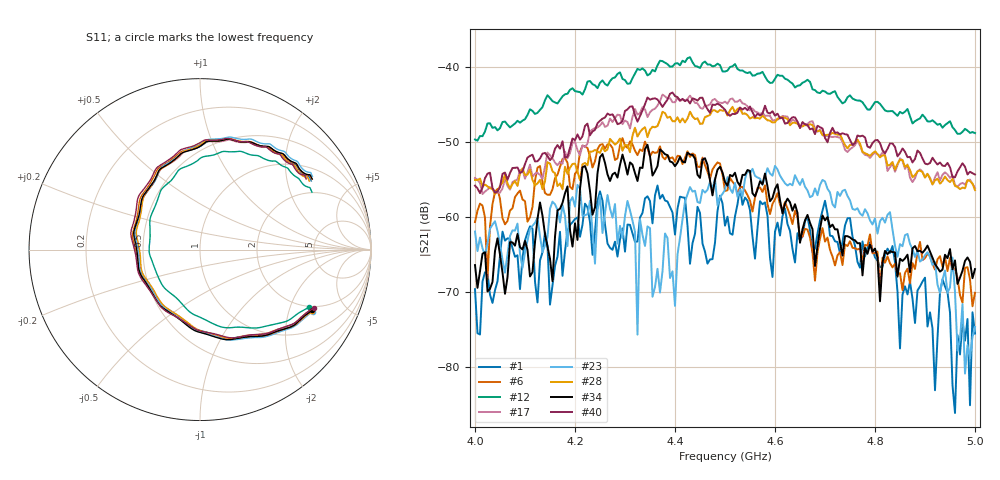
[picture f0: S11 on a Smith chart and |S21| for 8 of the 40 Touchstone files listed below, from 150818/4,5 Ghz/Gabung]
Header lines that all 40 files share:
# Hz S RI R 50
! CMT, C1220, 16058040, 17.2.0/1
! Data: Format (Calibration Info)
! Freq  S11: Re/Im (F2)  S21: Re/Im (F2)  S12: Re/Im (F2)  S22: Re/Im (F2)
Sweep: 4 GHz to 5 GHz
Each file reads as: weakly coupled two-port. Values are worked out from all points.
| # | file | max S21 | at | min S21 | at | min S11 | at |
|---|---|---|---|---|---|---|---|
| 1 | Sudut_120_Titik_6.s2p | -55.83 dB | 4.365 GHz | -86.2 dB | 4.96 GHz | -8.9 dB | 4.36 GHz |
| 2 | Sudut_120_Titik_8.s2p | -40.31 dB | 4.43 GHz | -51.4 dB | 4 GHz | -10.9 dB | 4.315 GHz |
| 3 | Sudut_120_Titik_9.s2p | -38.74 dB | 4.4 GHz | -51.1 dB | 5 GHz | -7.7 dB | 4.36 GHz |
| 4 | Sudut_130_Titik_6.s2p | -55.08 dB | 4.49 GHz | -84.9 dB | 4.905 GHz | -8.9 dB | 4.36 GHz |
| 5 | Sudut_140_Titik_1.s2p | -39.22 dB | 4.44 GHz | -52.4 dB | 5 GHz | -7.7 dB | 4.36 GHz |
| 6 | Sudut_140_Titik_5.s2p | -49.51 dB | 4.295 GHz | -71.9 dB | 4.995 GHz | -8.6 dB | 4.36 GHz |
| 7 | Sudut_150_Titik_2.s2p | -39.03 dB | 4.43 GHz | -50.1 dB | 4.005 GHz | -10.8 dB | 4.315 GHz |
| 8 | Sudut_150_Titik_5.s2p | -50.11 dB | 4.31 GHz | -72.0 dB | 4.025 GHz | -8.9 dB | 4.36 GHz |
| 9 | Sudut_150_Titik_6.s2p | -54.65 dB | 4.53 GHz | -85.0 dB | 4.12 GHz | -8.8 dB | 4.36 GHz |
| 10 | Sudut_150_Titik_9.s2p | -39.89 dB | 4.44 GHz | -52.3 dB | 5 GHz | -7.7 dB | 4.36 GHz |
| 11 | Sudut_160_Titik_1.s2p | -40.28 dB | 4.4 GHz | -52.5 dB | 5 GHz | -7.7 dB | 4.36 GHz |
| 12 | Sudut_160_Titik_2.s2p | -38.72 dB | 4.43 GHz | -49.8 dB | 4.005 GHz | -10.9 dB | 4.315 GHz |
| 13 | Sudut_160_Titik_5.s2p | -49.55 dB | 4.37 GHz | -77.7 dB | 4.025 GHz | -8.8 dB | 4.365 GHz |
| 14 | Sudut_160_Titik_6.s2p | -54.81 dB | 4.445 GHz | -83.2 dB | 4.045 GHz | -8.7 dB | 4.36 GHz |
| 15 | Sudut_160_Titik_7.s2p | -44.42 dB | 4.355 GHz | -59.2 dB | 4.015 GHz | -8.6 dB | 4.36 GHz |
| 16 | Sudut_170_Titik_1.s2p | -40.44 dB | 4.4 GHz | -53.6 dB | 5 GHz | -7.7 dB | 4.36 GHz |
| 17 | Sudut_170_Titik_3.s2p | -43.71 dB | 4.375 GHz | -57.0 dB | 4.015 GHz | -8.9 dB | 4.36 GHz |
| 18 | Sudut_170_Titik_4.s2p | -52.36 dB | 4.25 GHz | -88.8 dB | 4.965 GHz | -9.0 dB | 4.36 GHz |
| 19 | Sudut_170_Titik_7.s2p | -43.48 dB | 4.395 GHz | -57.5 dB | 4.015 GHz | -8.7 dB | 4.36 GHz |
| 20 | Sudut_180_Titik_3.s2p | -44.28 dB | 4.43 GHz | -56.2 dB | 4.97 GHz | -9.0 dB | 4.36 GHz |
| 21 | Sudut_180_Titik_4.s2p | -53.79 dB | 4.6 GHz | -88.0 dB | 4.965 GHz | -9.0 dB | 4.36 GHz |
| 22 | Sudut_180_Titik_7.s2p | -43.12 dB | 4.355 GHz | -56.1 dB | 4.005 GHz | -8.6 dB | 4.36 GHz |
| 23 | Sudut_190_Titik_4.s2p | -53.21 dB | 4.6 GHz | -80.9 dB | 4.98 GHz | -8.9 dB | 4.36 GHz |
| 24 | Sudut_190_Titik_5.s2p | -50.88 dB | 4.41 GHz | -72.4 dB | 4.115 GHz | -8.5 dB | 4.36 GHz |
| 25 | Sudut_190_Titik_6.s2p | -53.09 dB | 4.245 GHz | -67.4 dB | 5 GHz | -8.9 dB | 4.36 GHz |
| 26 | Sudut_190_Titik_7.s2p | -42.28 dB | 4.39 GHz | -55.3 dB | 4.045 GHz | -8.5 dB | 4.36 GHz |
| 27 | Sudut_190_Titik_8.s2p | -38.22 dB | 4.43 GHz | -48.9 dB | 4.005 GHz | -10.8 dB | 4.315 GHz |
| 28 | Sudut_200_Titik_3.s2p | -45.33 dB | 4.515 GHz | -57.0 dB | 4.04 GHz | -9.1 dB | 4.36 GHz |
| 29 | Sudut_200_Titik_4.s2p | -52.71 dB | 4.6 GHz | -86.6 dB | 4.985 GHz | -8.8 dB | 4.36 GHz |
| 30 | Sudut_200_Titik_6.s2p | -53.24 dB | 4.245 GHz | -69.7 dB | 5 GHz | -8.9 dB | 4.36 GHz |
| 31 | Sudut_200_Titik_7.s2p | -41.95 dB | 4.395 GHz | -55.3 dB | 4.045 GHz | -8.5 dB | 4.365 GHz |
| 32 | Sudut_200_Titik_9.s2p | -41.07 dB | 4.44 GHz | -52.5 dB | 4.02 GHz | -7.7 dB | 4.36 GHz |
| 33 | Sudut_210_Titik_4.s2p | -52.63 dB | 4.545 GHz | -84.4 dB | 4.985 GHz | -8.7 dB | 4.36 GHz |
| 34 | Sudut_210_Titik_5.s2p | -50.40 dB | 4.345 GHz | -71.3 dB | 4.81 GHz | -8.7 dB | 4.36 GHz |
| 35 | Sudut_210_Titik_7.s2p | -42.33 dB | 4.39 GHz | -55.4 dB | 4.045 GHz | -8.5 dB | 4.315 GHz |
| 36 | Sudut_210_Titik_8.s2p | -38.26 dB | 4.375 GHz | -47.7 dB | 4.97 GHz | -10.8 dB | 4.315 GHz |
| 37 | Sudut_220_Titik_3.s2p | -46.65 dB | 4.515 GHz | -60.1 dB | 4.135 GHz | -9.0 dB | 4.36 GHz |
| 38 | Sudut_220_Titik_4.s2p | -53.67 dB | 4.545 GHz | -83.1 dB | 4.985 GHz | -8.6 dB | 4.36 GHz |
| 39 | Sudut_230_Titik_1.s2p | -40.77 dB | 4.44 GHz | -53.8 dB | 5 GHz | -7.6 dB | 4.36 GHz |
| 40 | Sudut_230_Titik_7.s2p | -43.43 dB | 4.395 GHz | -56.8 dB | 4.01 GHz | -8.5 dB | 4.36 GHz |
